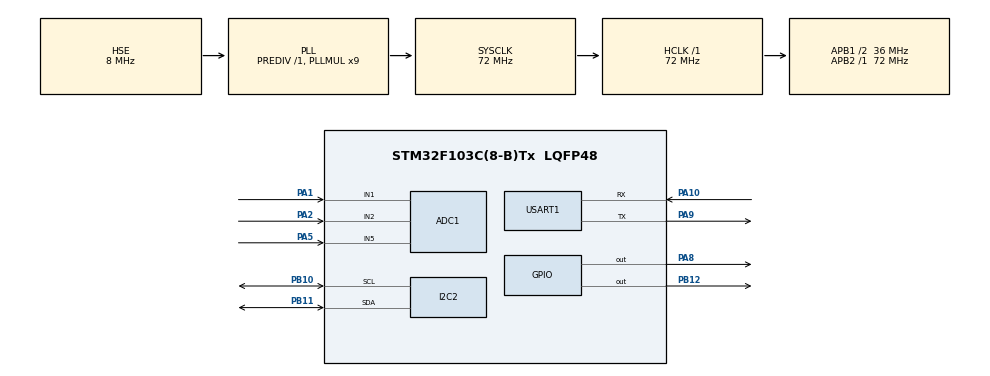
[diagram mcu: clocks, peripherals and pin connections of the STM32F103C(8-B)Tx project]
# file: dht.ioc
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ADC1.Channel-0\#ChannelRegularConversion=ADC_CHANNEL_5
ADC1.NbrOfConversionFlag=1
ADC1.Rank-0\#ChannelRegularConversion=1
ADC1.SamplingTime-0\#ChannelRegularConversion=ADC_SAMPLETIME_1CYCLE_5
ADC1.master=1
Dma.Request0=USART1_RX
Dma.Request1=USART1_TX
Dma.USART1_RX.0.Direction=DMA_PERIPH_TO_MEMORY
Dma.USART1_RX.0.Instance=DMA1_Channel5
Dma.USART1_RX.0.MemDataAlignment=DMA_MDATAALIGN_BYTE
Dma.USART1_RX.0.MemInc=DMA_MINC_ENABLE
Dma.USART1_RX.0.Mode=DMA_NORMAL
Dma.USART1_RX.0.PeriphDataAlignment=DMA_PDATAALIGN_BYTE
Dma.USART1_RX.0.PeriphInc=DMA_PINC_DISABLE
Dma.USART1_RX.0.Priority=DMA_PRIORITY_LOW
Dma.USART1_TX.1.Direction=DMA_MEMORY_TO_PERIPH
Dma.USART1_TX.1.Instance=DMA1_Channel4
Dma.USART1_TX.1.MemDataAlignment=DMA_MDATAALIGN_BYTE
Dma.USART1_TX.1.MemInc=DMA_MINC_ENABLE
Dma.USART1_TX.1.Mode=DMA_NORMAL
Dma.USART1_TX.1.PeriphDataAlignment=DMA_PDATAALIGN_BYTE
Dma.USART1_TX.1.PeriphInc=DMA_PINC_DISABLE
Dma.USART1_TX.1.Priority=DMA_PRIORITY_LOW
I2C2.I2C_Mode=I2C_Fast
Mcu.Family=STM32F1
Mcu.Name=STM32F103C(8-B)Tx
Mcu.Package=LQFP48
NVIC.DMA1_Channel4_IRQn=true\:0\:0\:false\:false\:true\:false\:true
NVIC.DMA1_Channel5_IRQn=true\:0\:0\:false\:false\:true\:false\:true
NVIC.PriorityGroup=NVIC_PRIORITYGROUP_4
NVIC.USART1_IRQn=true\:0\:0\:false\:false\:true\:true\:true
PA1.Signal=ADCx_IN1
PA10.Mode=Asynchronous
PA10.Signal=USART1_RX
PA13.Mode=Serial_Wire
PA13.Signal=SYS_JTMS-SWDIO
PA14.Mode=Serial_Wire
PA14.Signal=SYS_JTCK-SWCLK
PA2.Signal=ADCx_IN2
PA5.Signal=ADCx_IN5
PA8.Signal=GPIO_Output
PA9.Mode=Asynchronous
PA9.Signal=USART1_TX
PB10.Mode=I2C
PB10.Signal=I2C2_SCL
PB11.Mode=I2C
PB11.Signal=I2C2_SDA
PB12.Signal=GPIO_Output
PD0-OSC_IN.Mode=HSE-External-Oscillator
PD0-OSC_IN.Signal=RCC_OSC_IN
PD1-OSC_OUT.Mode=HSE-External-Oscillator
PD1-OSC_OUT.Signal=RCC_OSC_OUT
ProjectManager.HeapSize=0x200
ProjectManager.StackSize=0x400
ProjectManager.TargetToolchain=STM32CubeIDE
RCC.ADCPresc=RCC_ADCPCLK2_DIV6
RCC.AHBFreq_Value=72000000
RCC.APB1CLKDivider=RCC_HCLK_DIV2
RCC.APB1Freq_Value=36000000
RCC.APB1TimFreq_Value=72000000
RCC.APB2Freq_Value=72000000
RCC.APB2TimFreq_Value=72000000
RCC.HCLKFreq_Value=72000000
RCC.PLLMUL=RCC_PLL_MUL9
RCC.PLLSourceVirtual=RCC_PLLSOURCE_HSE
RCC.SYSCLKFreq_VALUE=72000000
RCC.SYSCLKSource=RCC_SYSCLKSOURCE_PLLCLK
RCC.USBFreq_Value=72000000
SH.ADCx_IN1.0=ADC1_IN1,IN1
SH.ADCx_IN2.0=ADC1_IN2,IN2
SH.ADCx_IN5.0=ADC1_IN5,IN5
TIM3.Prescaler=71
USART1.VirtualMode=VM_ASYNC
VP_TIM3_VS_ClockSourceINT.Mode=Internal
board=custom

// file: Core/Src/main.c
/* USER CODE BEGIN Header */
/**
  ******************************************************************************
  * @file           : main.c
  * @brief          : Main program body
  ******************************************************************************
  * @attention
  *
  * Copyright (c) 2025 STMicroelectronics.
  * All rights reserved.
  *
  * This software is licensed under terms that can be found in the LICENSE file
  * in the root directory of this software component.
  * If no LICENSE file comes with this software, it is provided AS-IS.
  *
  ******************************************************************************
  */
/* USER CODE END Header */

#include "main.h"
#include "adc.h"
#include "dma.h"
#include "i2c.h"
#include "tim.h"
#include "usart.h"
#include "gpio.h"

/* USER CODE BEGIN Includes */
#include "sensors.h"
#include "oled.h"
#include "dht11.h"
#include <stdio.h>
#include <string.h>
#include <stdlib.h>       // CHANGED: include stdlib for atof()
/* USER CODE END Includes */

#define DMA_BUF_SIZE  64
#define MAIN_BUF_SIZE 256

#define THIS_DEVICE_ID "MCU01"

/* GPIO for pump control */
#define PUMP_GPIO_PORT GPIOA
#define PUMP_GPIO_PIN  GPIO_PIN_8

/* USER CODE BEGIN PD */
/* CHANGED: 将 threshold 改为 float，以便使用 atof() */
static float g_wateringThreshold0 = 30.0f;   // CHANGED: float
static float g_wateringThreshold1 = 60.0f;   // CHANGED: float

static char g_deviceNickname[20] = "默认昵称";
static char g_plantSpecies[20]   = "未知";
static OledDisplayState g_oledState = OLED_STATE_NORMAL;
/* USER CODE END PD */

/* USER CODE BEGIN PM */
uint8_t DHT11_Read_Data(uint8_t* humi,uint8_t* temp);
/* USER CODE END PM */

/* USER CODE BEGIN PV */
static uint8_t DMA_Buffer[DMA_BUF_SIZE];  // 用于单次DMA接收
static uint8_t mainBuf[MAIN_BUF_SIZE];    // 主循环缓冲区，拼接命令
static uint16_t mainBufIndex = 0;         // 指向下一个待写入的位置
/* USER CODE END PV */

void SystemClock_Config(void);

/* USER CODE BEGIN PFP */
/* 函数声明 */
void parseCommand(const char* cmd);
void setPumpState(uint8_t on);
void updateOLEDState(OledDisplayState newState);
/* USER CODE END PFP */

/* USER CODE BEGIN 0 */

/*
 * CHANGED / ADDED:
 *  使用空闲中断回调方式，处理每次接收的数据块，并在其中查找换行符 '\n'
 *  如果找到，则分割出一条完整命令，调用 parseCommand() 解析
 */
void HAL_UARTEx_RxEventCallback(UART_HandleTypeDef *huart, uint16_t Size)
{

	if (huart == &huart1)
  {
    /* 1) 将 DMA_Buffer 中 [0..Size-1] 的字节 复制到 mainBuf */
    for(uint16_t i = 0; i < Size; i++)
    {
      // 如果满了，就清空或做其他处理，这里简单清空
      if(mainBufIndex >= MAIN_BUF_SIZE - 1)
      {
        mainBufIndex = 0;
        memset(mainBuf, 0, MAIN_BUF_SIZE);
      }
      mainBuf[mainBufIndex++] = DMA_Buffer[i];
    }
    /* 2) 在 mainBuf 中查找 '\n' 以判断是否有一条完整命令  */
    // CHANGED: 只要检测到第一条 '\n'，就解析并清空缓冲区，等待下条命令
    for(uint16_t i = 0; i < mainBufIndex; i++)
    {
      if(mainBuf[i] == '\n')
      {
        // 截取 [0 .. i-1] 作为一条命令   (startPos = 0)
        mainBuf[i] = '\0'; // 把换行符替换为字符串结束符

        // 提取该条命令
        char cmdBuf[100];
        uint16_t cmdLen = i; // 从0到i-1
        if(cmdLen >= sizeof(cmdBuf)) {
          cmdLen = sizeof(cmdBuf) - 1;
        }
        strncpy(cmdBuf, (char*)&mainBuf[0], cmdLen);
        cmdBuf[cmdLen] = '\0';
        // 调用 parseCommand() 来解析
        parseCommand(cmdBuf);

        // CHANGED / ADDED: 清空所有缓冲区并将 mainBufIndex 置0
        memset(mainBuf, 0, MAIN_BUF_SIZE);
        mainBufIndex = 0;

        // 因为你只想处理第一条指令就重置缓存，因此可以直接 break
        break;
      }
    }

    /* 3) 重新启动接收：非常重要，否则只能接收一次 */
    // CHANGED: 不再做剩余数据前移，因为你希望清空后只等下一条命令
    HAL_UARTEx_ReceiveToIdle_IT(&huart1, DMA_Buffer, DMA_BUF_SIZE);
  }
}

/* USER CODE END 0 */

int main(void)
{
  /* USER CODE BEGIN 1 */
  uint8_t temperature = 1;
  uint8_t humidity    = 1;

  char* CntState = "No Connect!\r\n";
  uint8_t messages[250];
  Sensor_DataTypeDef sensorData;
  /* USER CODE END 1 */

  HAL_Init();
  SystemClock_Config();

  /* Initialize all configured peripherals */
  MX_GPIO_Init();
  MX_TIM3_Init();
  MX_USART1_UART_Init();
  MX_I2C2_Init();
  MX_DMA_Init();
  MX_ADC1_Init();

  /* USER CODE BEGIN 2 */
  DHT11_Rst();

  while(DHT11_Check())
  {
    HAL_UART_Transmit(&huart1, (uint8_t*)CntState, strlen(CntState), 200);
    HAL_Delay(500);
  }

  CntState = "Success!\r\n";
  HAL_UART_Transmit(&huart1, (uint8_t*)CntState, strlen(CntState), 200);

  HAL_Delay(20);
  OLED_Init();
  SENSORS_Init();

  /* CHANGED / ADDED: 启动 USART1 的空闲中断接收 */

  HAL_UARTEx_ReceiveToIdle_IT(&huart1, DMA_Buffer, DMA_BUF_SIZE);

  /* USER CODE END 2 */

  while (1)
  {
    /* 读取传感器数据并打印示例 */
    SENSORS_ReadAll(&sensorData);

    //sprintf((char*)messages,"环境温度 %d ℃  环境湿度 %d %%  土壤湿度 %u %%  水位深度 %u cm  光照强度 %u\r\n",sensorData.temperature,sensorData.humidity,sensorData.soilADC, sensorData.waterADC,sensorData.lightADC);
    sprintf((char*)messages,"T=%d,H=%d,soil=%u,water=%u,light=%u\r\n",sensorData.temperature,sensorData.humidity,sensorData.soilADC, sensorData.waterADC,sensorData.lightADC);

    HAL_UART_Transmit(&huart1, messages, strlen((const char*)messages), 250);

    /* 可以再读 DHT11 ，如果需要 */
    DHT11_Read_Data(&humidity, &temperature);

    /* 刷新 OLED 状态 */
    OLED_UpdateDisplay(g_oledState, &sensorData, g_deviceNickname, g_plantSpecies);

    HAL_Delay(1000);
  }
}
void SystemClock_Config(void)
{
  RCC_OscInitTypeDef RCC_OscInitStruct = {0};
  RCC_ClkInitTypeDef RCC_ClkInitStruct = {0};
  RCC_PeriphCLKInitTypeDef PeriphClkInit = {0};

  /** Initializes the RCC Oscillators according to the specified parameters
  * in the RCC_OscInitTypeDef structure.
  */
  RCC_OscInitStruct.OscillatorType = RCC_OSCILLATORTYPE_HSE;
  RCC_OscInitStruct.HSEState = RCC_HSE_ON;
  RCC_OscInitStruct.HSEPredivValue = RCC_HSE_PREDIV_DIV1;
  RCC_OscInitStruct.HSIState = RCC_HSI_ON;
  RCC_OscInitStruct.PLL.PLLState = RCC_PLL_ON;
  RCC_OscInitStruct.PLL.PLLSource = RCC_PLLSOURCE_HSE;
  RCC_OscInitStruct.PLL.PLLMUL = RCC_PLL_MUL9;
  if (HAL_RCC_OscConfig(&RCC_OscInitStruct) != HAL_OK)
  {
    Error_Handler();
  }
  /** Initializes the CPU, AHB and APB buses clocks
  */
  RCC_ClkInitStruct.ClockType = RCC_CLOCKTYPE_HCLK|RCC_CLOCKTYPE_SYSCLK
                              |RCC_CLOCKTYPE_PCLK1|RCC_CLOCKTYPE_PCLK2;
  RCC_ClkInitStruct.SYSCLKSource = RCC_SYSCLKSOURCE_PLLCLK;
  RCC_ClkInitStruct.AHBCLKDivider = RCC_SYSCLK_DIV1;
  RCC_ClkInitStruct.APB1CLKDivider = RCC_HCLK_DIV2;
  RCC_ClkInitStruct.APB2CLKDivider = RCC_HCLK_DIV1;

  if (HAL_RCC_ClockConfig(&RCC_ClkInitStruct, FLASH_LATENCY_2) != HAL_OK)
  {
    Error_Handler();
  }
  PeriphClkInit.PeriphClockSelection = RCC_PERIPHCLK_ADC;
  PeriphClkInit.AdcClockSelection = RCC_ADCPCLK2_DIV6;
  if (HAL_RCCEx_PeriphCLKConfig(&PeriphClkInit) != HAL_OK)
  {
    Error_Handler();
  }
}

/* USER CODE BEGIN 4 */
// ------------------------------------------------
// 解析命令函数
// 格式: <DEVICE_ID>:<COMMAND_TYPE>:<DATA>
// �??: "MCU01:p1:" or "MCU01:oled:listen" or "MCU01:nickname:小花"
// ------------------------------------------------
void parseCommand(const char* cmd)
{
  // 1. 拆分字符�??
  //    假设�??单处理，使用 strtok 来分�?? ":"
  char buffer[100];
  strncpy(buffer, cmd, sizeof(buffer)-1);
  buffer[sizeof(buffer)-1] = '\0';
  // 分割得到 3 段： DEVICE_ID, COMMAND_TYPE, DATA
  char* pDevice  = strtok(buffer, ":");
  char* pCommand = strtok(NULL, ":");
  char* pData    = strtok(NULL, ":");

  if(pDevice == NULL || pCommand == NULL) {
    return; // 格式不正确，直接返回
  }

  // 2. 判断是否为本设备ID
  if(strcmp(pDevice, THIS_DEVICE_ID) != 0) {
    // 不是发给我们的，忽略
    return;
  }

  // 3. 根据 COMMAND_TYPE 判断执行动作
  if(strcmp(pCommand, "p1") == 0) {
    // 将PA8置高
    setPumpState(1);
    updateOLEDState(OLED_STATE_WATERING);
  }
  else if(strcmp(pCommand, "p0") == 0) {
    // 将PA15置低
    setPumpState(0);
    updateOLEDState(OLED_STATE_NORMAL);
  }
  else if(strcmp(pCommand, "oled") == 0) {
    // 切换OLED状�??
    // pData 可能�?? "normal", "listen", "talk", "water"
    if(pData) {
      if(strcmp(pData, "normal") == 0) {
        updateOLEDState(OLED_STATE_NORMAL);
      } else if(strcmp(pData, "listen") == 0) {
        updateOLEDState(OLED_STATE_LISTENING);
      } else if(strcmp(pData, "talk") == 0) {
        updateOLEDState(OLED_STATE_TALKING);
      } else if(strcmp(pData, "water") == 0) {
        updateOLEDState(OLED_STATE_WATERING);
      }
    }
  }
  else if(strcmp(pCommand, "threshold0") == 0) {
    // 设置浇水阈�??
    if(pData) {
      float newVal = atof(pData);
      g_wateringThreshold0 = newVal;
      char ack[50];
      sprintf(ack, "设置浇水下限设置为%u\r\n", g_wateringThreshold0);

      HAL_UART_Transmit(&huart1, (uint8_t*)ack, strlen(ack), HAL_MAX_DELAY);
    }
  }
  else if(strcmp(pCommand, "threshold1") == 0) {
      // 设置浇水阈�??
      if(pData) {
        float newVal = atof(pData);
        g_wateringThreshold1 = newVal;
        char ack[50];
        sprintf(ack, "设置浇水上限设置为%u\r\n", g_wateringThreshold1);

        HAL_UART_Transmit(&huart1, (uint8_t*)ack, strlen(ack), HAL_MAX_DELAY);
      }
    }
  else if(strcmp(pCommand, "nickname") == 0) {
    // 设置设备昵称
    if(pData) {
      strncpy(g_deviceNickname, pData, sizeof(g_deviceNickname)-1);
      g_deviceNickname[sizeof(g_deviceNickname)-1] = '\0';
      char ack[50];
      sprintf(ack, "昵称设置为%s\r\n", g_deviceNickname);
      HAL_UART_Transmit(&huart1, (uint8_t*)ack, strlen(ack), HAL_MAX_DELAY);
    }
  }
  else if(strcmp(pCommand, "plant") == 0) {
    // 设置植物类型
    if(pData) {
      strncpy(g_plantSpecies, pData, sizeof(g_plantSpecies)-1);
      g_plantSpecies[sizeof(g_plantSpecies)-1] = '\0';
      char ack[50];
      sprintf(ack, "植物设置为%s\r\n", g_plantSpecies);
      HAL_UART_Transmit(&huart1, (uint8_t*)ack, strlen(ack), HAL_MAX_DELAY);
    }
  }
  else {
    // 未知命令
    const char* unknown = "Unknown Command.\r\n";
    HAL_UART_Transmit(&huart1, (uint8_t*)unknown, strlen(unknown), HAL_MAX_DELAY);
  }
}

// --------------------------------------------
// 控制水泵引脚
// p1 -> high, p0 -> low
// --------------------------------------------
void setPumpState(uint8_t on)
{
  if(on) {
    HAL_GPIO_WritePin(PUMP_GPIO_PORT, PUMP_GPIO_PIN, GPIO_PIN_SET);
  } else {
    HAL_GPIO_WritePin(PUMP_GPIO_PORT, PUMP_GPIO_PIN, GPIO_PIN_RESET);
  }
}

// --------------------------------------------
// 更新全局OLED状�??
// --------------------------------------------
void updateOLEDState(OledDisplayState newState)
{
  g_oledState = newState;
}

// End of main.c
/* USER CODE END 4 */

void Error_Handler(void)
{
  __disable_irq();
  while (1)
  {
  }
}
